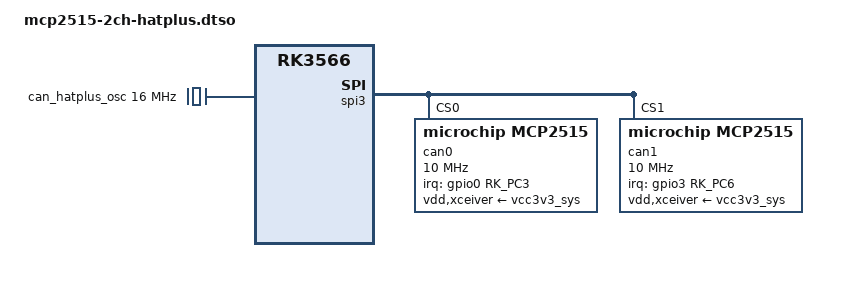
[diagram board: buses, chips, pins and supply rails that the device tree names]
// SPDX-License-Identifier: BSD-3-Clause
/*
 * PRODUCTION CAN overlay — Waveshare 2-CH isolated CAN HAT+ on Radxa CM3 (RK3566).
 * Two MCP2515s on SPI3, giving SocketCAN can0 + can1. This is the production stack
 * per HAT_CONTEXT.md rev 4.2 (vs mcp2515-cm3.dtso, which is the single-channel
 * 12 MHz RS485-CAN HAT used for initial bench validation).
 *
 * Per HAT_CONTEXT rev 4.2:
 *   SPI3: MOSI=hdr19, MISO=hdr21, CLK=hdr23, CS0=hdr24, CS1=hdr36
 *   INT : CAN_INT0 = hdr15 = GPIO0_C3   (can0, CS0)
 *         CAN_INT1 = hdr22 = GPIO3_C6   (can1, CS1)
 *   Crystal: 16 MHz on the 2-CH HAT+ (NOT 12 MHz — that's the RS485-CAN HAT).
 *   Bus map: can0 = HAT_CAN1 <-> Zombie CAN EXT (X1 27/28, SDO/RPM);
 *            can1 = HAT_CAN2 <-> Zombie CAN EXT 2 (X1 43/44, vehicle+charger).
 *            (Confirm the SocketCAN can0/can1 <-> CS0/CS1 ordering on hardware.)
 *
 * HAT+ BACK-PAD STRAPPING (confirmed 2026-08-11, silkscreen + Waveshare wiki). The
 * board SHIPS on SPI1 (pins 35/38/40); re-strap the 7 back pads onto CM3 SPI3:
 *     SDO -> MISO (pin21)     SDI -> MOSI (pin19)     SCLK -> SCK (pin23)
 *     CE_0 -> CE0 (pin24)     CE_1 -> D16 (pin36, ALREADY DEFAULT)
 *     INT0 -> D22 (pin15, ALREADY DEFAULT)            INT_1 -> D25 (pin22)
 * = 5 pads to move (SDO/SDI/SCLK/CE_0/INT_1); CE_1 + INT0 already correct. Do NOT use
 * the CS_1 'CE1'/pin-26 option (pin26 = CM3 SARADC). After re-strap, 35/38/40 free ->
 * DIMMER (pin40) safe. Buzz-verify SCLK->23, MOSI->19, MISO->21, CS0->24, CS1->36.
 *
 * The HAT+ also carries a CAT24C32W ID EEPROM on I2C2 (hdr 27/28) — harmless,
 * Rockchip boot doesn't read RPi HAT EEPROMs; not modelled here.
 *
 * NOTE: Radxa ships rk3568-spi3-m0-cs0-mcp2515.dtbo (osc *8 MHz*, INT gpio4, CS0
 * only). For two channels + 16 MHz + our INT pins it's cleaner to use THIS overlay
 * than to override the shipped one. Confirm the spi3m0 pinctrl group name against
 * the base DTS before enabling.
 */
/dts-v1/;
/plugin/;

#include <dt-bindings/gpio/gpio.h>
#include <dt-bindings/interrupt-controller/irq.h>
#include <dt-bindings/pinctrl/rockchip.h>

/ {
	compatible = "radxa,cm3-io", "rockchip,rk3566";

	can_hatplus_osc: can-hatplus-oscillator {
		compatible = "fixed-clock";
		#clock-cells = <0>;
		clock-frequency = <16000000>;   /* 2-CH isolated CAN HAT+ = 16 MHz */
	};
};

&spi3 {
	status = "okay";
	/* TODO: pinctrl-0 = <&spi3m0_pins>; (confirm group name in the base DTS) */
	#address-cells = <1>;
	#size-cells = <0>;

	can0: can@0 {
		compatible = "microchip,mcp2515";
		reg = <0>;                                  /* CS0 = hdr24 */
		spi-max-frequency = <10000000>;
		clocks = <&can_hatplus_osc>;

		/* CAN_INT0 = hdr15 = GPIO0_C3, active-low, level-triggered */
		interrupt-parent = <&gpio0>;
		interrupts = <RK_PC3 IRQ_TYPE_LEVEL_LOW>;

		vdd-supply = <&vcc3v3_sys>;
		xceiver-supply = <&vcc3v3_sys>;
	};

	can1: can@1 {
		compatible = "microchip,mcp2515";
		reg = <1>;                                  /* CS1 = hdr36 */
		spi-max-frequency = <10000000>;
		clocks = <&can_hatplus_osc>;

		/* CAN_INT1 = hdr22 = GPIO3_C6, active-low, level-triggered */
		interrupt-parent = <&gpio3>;
		interrupts = <RK_PC6 IRQ_TYPE_LEVEL_LOW>;

		vdd-supply = <&vcc3v3_sys>;
		xceiver-supply = <&vcc3v3_sys>;
	};
};

/*
 * Bring up after boot (bitrate = the vehicle bus rate; confirm 500k):
 *   sudo ip link set can0 up type can bitrate 500000
 *   sudo ip link set can1 up type can bitrate 500000
 *   candump -tz can0 can1        # (can-utils)
 * If only one interface appears, buzz the CS1 (hdr36) / INT1 (hdr22) routing and
 * confirm the pinctrl group actually claims CS1.
 */
